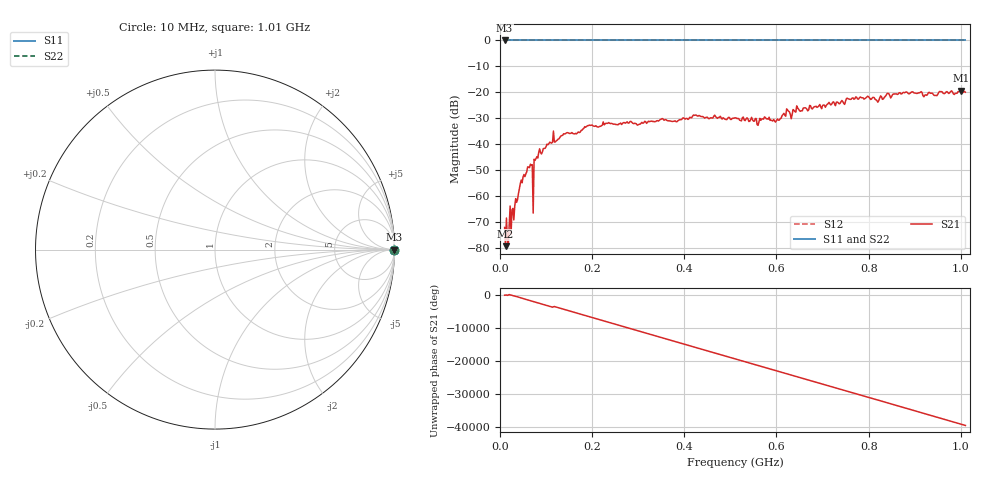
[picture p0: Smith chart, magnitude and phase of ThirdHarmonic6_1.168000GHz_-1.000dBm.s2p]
! 8/16/2025 11:47:50 AM
! C:\ANRITSUVNA\TEMP\TEMP.S2P
! CHANNEL.1
! TR.MEASUREMENT
! RAW.DATA
! RF.CORRECTION.OFF
! AVERAGING.OFF
! IF.BANDWIDTH: 5KHZ
! SWEEPTYPE:  FREQ.SWEEP(Linear)
! Reference Plane Port Info
! PORT:  PORT1  PORT2
! DISTANCE:  0  m  0  m
! TIME:  0  s  0  s
! PHASE.OFFSET:  0  deg.  0  deg.
! LOSS:  0  dB  0  dB
! REF.LOSS:  0  dB  0  dB
! REF.FREQ:  0  Hz  0  Hz
! Power Info
! POWER:  -20  dBm  -20  dBm
! EFF.POWER:  -20  dBm  -20  dBm
! SOURCE.ATTEN:  0  dB  0  dB
! TEST.ATTEN:  0  dB  0  dB
# GHZ S RI R 50.0
! FREQ.GHZ  S11RE  S11IM  S21RE  S21IM  S12RE  S12IM  S22RE  S22IM
!; PortSelection: Port_12
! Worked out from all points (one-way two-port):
!   501 points, 10 MHz to 1.01 GHz, reference 50 ohm
!   highest |S21| = -19.41 dB at 1 GHz (marker M1); lowest = -79.3 dB at 12 MHz (marker M2)
!   lowest |S11| = 0.0 dB at 10 MHz (marker M3)
!   |S11| at or under -10 dB: nowhere
!   |S22| runs from 0.0 to 0.0 dB; largest |S21 - S12| = 1.1
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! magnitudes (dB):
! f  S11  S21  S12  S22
! 10 MHz  0.0  -72.1  0.0  0.0
! 12 MHz  0.0  -79.3  0.0  0.0
! 20 MHz  0.0  -71.4  0.0  0.0
! 24 MHz  0.0  -74.7  0.0  0.0
! 28 MHz  0.0  -64.7  0.0  0.0
! 48 MHz  0.0  -54.8  0.0  0.0
! 64 MHz  0.0  -49.1  0.0  0.0
! 66 MHz  0.0  -47.7  0.0  0.0
! 68 MHz  0.0  -48.0  0.0  0.0
! 74 MHz  0.0  -45.8  0.0  0.0
! 78 MHz  0.0  -45.5  0.0  0.0
! 82 MHz  0.0  -45.3  0.0  0.0
! 112 MHz  0.0  -39.6  0.0  0.0
! 178 MHz  0.0  -34.6  0.0  0.0
! 344 MHz  0.0  -31.1  0.0  0.0
! 510 MHz  0.0  -29.8  0.0  0.0
! 596 MHz  0.0  -31.0  0.0  0.0
! 626 MHz  0.0  -27.3  0.0  0.0
! 678 MHz  0.0  -26.4  0.0  0.0
! 844 MHz  0.0  -20.6  0.0  0.0
! 1 GHz  0.0  -19.4  0.0  0.0
! 1.01 GHz  0.0  -19.9  0.0  0.0
